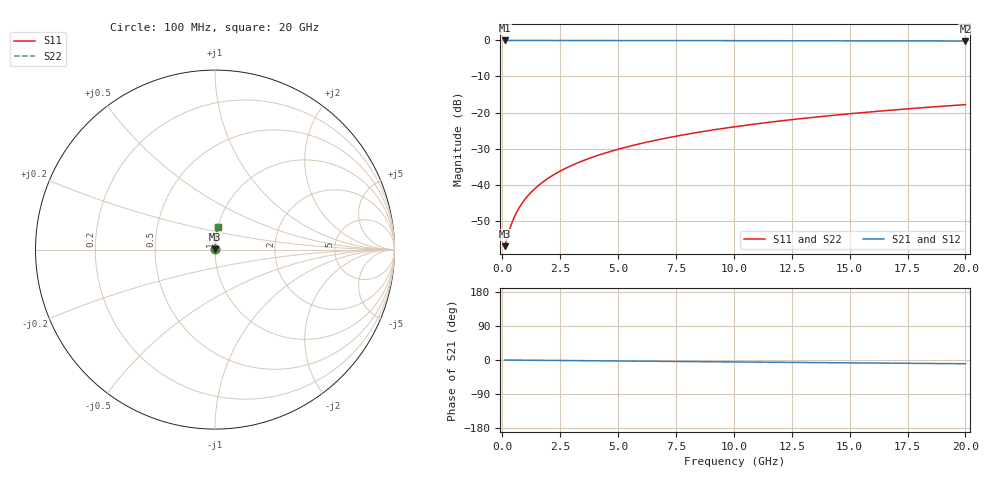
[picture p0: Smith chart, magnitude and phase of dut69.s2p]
! Touchstone file exported from HFSS 2024.1.0
!  File:  C:/UserFiles/LocalFiles/RDL_TSV_Batchsim/temp_RDL_bottom_69_1778693780.aedt
!  Generated:  01:38:49 AM May 14, 2026
!  Design:  RDL_bottom
!  Project:  temp_RDL_bottom_69_1778693780
!  Setup:  Setup1
!  Solution:  Sweep
! Variables:
!  dtsv = 10.80580581um
!  hbump = 3um
!  htsv = 55.44um
!  ldown = 100.12um
!  lrdl = 100um
!  p = 40
!  p1 = 41.37um
!  rhole = 1um
!  t = 450um
!  tdown = 2.47um
!  trdl = 3.915915916um
!  wdown = 15.24um
!  wrdl = 20um
# GHz S MA R 50.000000
! Terminal data exported
! Port[1] = RDL1_T1
! Port[2] = RDL1_T2
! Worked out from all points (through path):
!   200 points, 100 MHz to 20 GHz, reference 50 ohm
!   highest |S21| = -0.01 dB at 100 MHz (marker M1); lowest = -0.2 dB at 20 GHz (marker M2)
!   group delay of S21, straight-line fit = 1.37 ps
!   lowest |S11| = -57.1 dB at 100 MHz (marker M3), VSWR 1.00, Z = 50.1 + j0.0647 ohm
!   |S11| at or under -10 dB: start of sweep to end of sweep
!   |S22| runs from -57.1 to -17.8 dB; largest |S21 - S12| = 5e-15
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0.1  0.001399 27.5  0.9988 -0.1  0.9988 -0.1  0.001399 27.5
! Gamma 0 0 0 0
! Port Impedance 50 0 50 0
0.3  0.002308 56.4  0.9987 -0.2  0.9987 -0.2  0.002308 56.4
0.4  0.002862 62.9  0.9987 -0.2  0.9987 -0.2  0.002862 62.9
0.5  0.003436 67.3  0.9986 -0.3  0.9986 -0.3  0.003436 67.3
0.6  0.004017 70.3  0.9986 -0.3  0.9986 -0.3  0.004017 70.3
0.7  0.004603 72.6  0.9986 -0.4  0.9986 -0.4  0.004603 72.6
0.9  0.005781 75.9  0.9985 -0.5  0.9985 -0.5  0.005781 75.9
1.2  0.007559 79.0  0.9984 -0.6  0.9984 -0.6  0.007559 79.0
1.4  0.008752 80.4  0.9984 -0.8  0.9984 -0.8  0.008752 80.4
1.7  0.01055 81.9  0.9983 -0.9  0.9983 -0.9  0.01055 81.9
2.2  0.01357 83.6  0.9981 -1.2  0.9981 -1.2  0.01357 83.6
2.8  0.01723 84.9  0.9978 -1.5  0.9978 -1.5  0.01723 84.9
3.5  0.02154 85.8  0.9974 -1.9  0.9974 -1.9  0.02154 85.8
4.2  0.02589 86.3  0.997 -2.2  0.997 -2.2  0.02589 86.3
5  0.03091 86.7  0.9964 -2.6  0.9964 -2.6  0.03091 86.7
5.9  0.03661 86.9  0.9957 -3.1  0.9957 -3.1  0.03661 86.9
6.8  0.04237 86.9  0.9949 -3.6  0.9949 -3.6  0.04237 86.9
8.3  0.05208 86.7  0.9936 -4.3  0.9936 -4.3  0.05208 86.7
10.1  0.06384 86.2  0.9918 -5.2  0.9918 -5.2  0.06384 86.2
13.4  0.08554 84.9  0.9885 -6.8  0.9885 -6.8  0.08554 84.9
16.7  0.1072 83.3  0.985 -8.3  0.985 -8.3  0.1072 83.3
20  0.1286 81.7  0.9813 -9.9  0.9813 -9.9  0.1286 81.7
